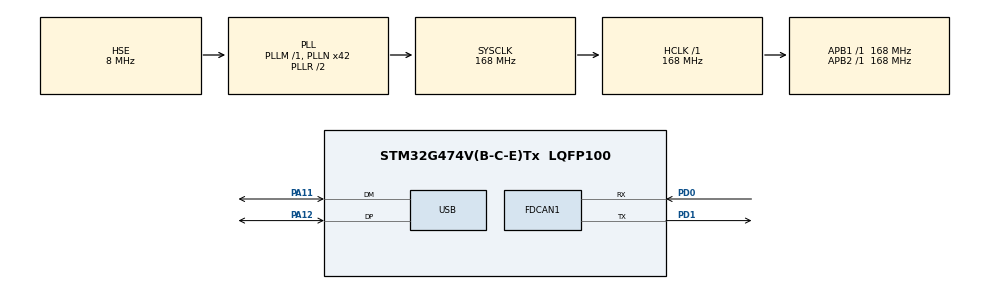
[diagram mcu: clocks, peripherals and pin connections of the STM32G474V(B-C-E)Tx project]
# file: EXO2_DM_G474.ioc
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FDCAN1.AutoRetransmission=ENABLE
FDCAN1.CalculateBaudRateNominal=1000000
FDCAN1.CalculateTimeBitNominal=1000
FDCAN1.CalculateTimeQuantumNominal=47.61904761904762
FDCAN1.ClockDivider=FDCAN_CLOCK_DIV1
FDCAN1.DataPrescaler=2
FDCAN1.DataSyncJumpWidth=2
FDCAN1.DataTimeSeg1=16
FDCAN1.DataTimeSeg2=4
FDCAN1.ExtFiltersNbr=0
FDCAN1.FrameFormat=FDCAN_FRAME_FD_BRS
FDCAN1.Mode=FDCAN_MODE_NORMAL
FDCAN1.NominalPrescaler=8
FDCAN1.NominalSyncJumpWidth=2
FDCAN1.NominalTimeSeg1=16
FDCAN1.NominalTimeSeg2=4
FDCAN1.ProtocolException=DISABLE
FDCAN1.StdFiltersNbr=1
FDCAN1.TransmitPause=DISABLE
FDCAN1.TxFifoQueueMode=FDCAN_TX_FIFO_OPERATION
Mcu.Family=STM32G4
Mcu.Name=STM32G474V(B-C-E)Tx
Mcu.Package=LQFP100
NVIC.FDCAN1_IT0_IRQn=true\:1\:0\:true\:false\:true\:true\:true\:true
NVIC.PriorityGroup=NVIC_PRIORITYGROUP_4
NVIC.TIM6_DAC_IRQn=true\:3\:0\:true\:false\:true\:true\:true\:true
NVIC.USB_LP_IRQn=true\:5\:0\:true\:false\:true\:false\:true\:true
PA11.Mode=Device
PA11.Signal=USB_DM
PA12.Mode=Device
PA12.Signal=USB_DP
PA13.Mode=Serial_Wire
PA13.Signal=SYS_JTMS-SWDIO
PA14.Mode=Serial_Wire
PA14.Signal=SYS_JTCK-SWCLK
PD0.GPIO_Speed=GPIO_SPEED_FREQ_VERY_HIGH
PD0.Mode=FDCAN_Activate
PD0.Signal=FDCAN1_RX
PD1.GPIO_Speed=GPIO_SPEED_FREQ_VERY_HIGH
PD1.Mode=FDCAN_Activate
PD1.Signal=FDCAN1_TX
PF0-OSC_IN.Mode=HSE-External-Oscillator
PF0-OSC_IN.Signal=RCC_OSC_IN
PF1-OSC_OUT.Mode=HSE-External-Oscillator
PF1-OSC_OUT.Signal=RCC_OSC_OUT
ProjectManager.HeapSize=0x400
ProjectManager.StackSize=0x800
ProjectManager.TargetToolchain=MDK-ARM V5.32
RCC.ADC12Freq_Value=168000000
RCC.ADC345Freq_Value=168000000
RCC.AHBFreq_Value=168000000
RCC.APB1Freq_Value=168000000
RCC.APB1TimFreq_Value=168000000
RCC.APB2Freq_Value=168000000
RCC.APB2TimFreq_Value=168000000
RCC.CK48CLockSelection=RCC_USBCLKSOURCE_HSI48
RCC.CortexFreq_Value=168000000
RCC.EXTERNAL_CLOCK_VALUE=12288000
RCC.HCLKFreq_Value=168000000
RCC.HSE_VALUE=8000000
RCC.HSI48_VALUE=48000000
RCC.HSI_VALUE=16000000
RCC.LSE_VALUE=32768
RCC.PLLN=42
RCC.PLLQ=RCC_PLLQ_DIV4
RCC.PLLSourceVirtual=RCC_PLLSOURCE_HSE
RCC.SYSCLKFreq_VALUE=168000000
RCC.SYSCLKSource=RCC_SYSCLKSOURCE_PLLCLK
RCC.USBFreq_Value=48000000
RCC.VCOOutputFreq_Value=336000000
TIM6.AutoReloadPreload=TIM_AUTORELOAD_PRELOAD_DISABLE
TIM6.CounterMode=TIM_COUNTERMODE_UP
TIM6.Dithering=Disable
TIM6.PeriodNoDither=47999
TIM6.Prescaler=0
TIM6.TIM_MasterOutputTrigger=TIM_TRGO_RESET
USB.DeviceSpeed=PCD_SPEED_FULL
USB.Sof_enable=DISABLE
USB.battery_charging_enable=DISABLE
USB.low_power_enable=DISABLE
USB.lpm_enable=DISABLE
USB.phy_itface=PCD_PHY_EMBEDDED
USB_DEVICE.APP_RX_DATA_SIZE=2048
USB_DEVICE.APP_TX_DATA_SIZE=2048
USB_DEVICE.CLASS_NAME_FS=CDC
USB_DEVICE.USBD_LPM_ENABLED=0
USB_DEVICE.USBD_SELF_POWERED=0
USB_DEVICE.VirtualMode=Cdc
USB_DEVICE.VirtualModeFS=Cdc_FS
VP_SYS_VS_DBSignals.Mode=DisableDeadBatterySignals
VP_TIM6_VS_ClockSourceINT.Mode=Enable_Timer
VP_USB_DEVICE_VS_USB_DEVICE_CDC_FS.Mode=CDC_FS
board=custom

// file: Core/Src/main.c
/* USER CODE BEGIN Header */
/**
  ******************************************************************************
  * @file           : main.c
  * @brief          : Main program body
  ******************************************************************************
  * @attention
  *
  * Copyright (c) 2026 STMicroelectronics.
  * All rights reserved.
  *
  * This software is licensed under terms that can be found in the LICENSE file
  * in the root directory of this software component.
  * If no LICENSE file comes with this software, it is provided AS-IS.
  *
  ******************************************************************************
  */
/* USER CODE END Header */
#include "main.h"
#include "fdcan.h"
#include "tim.h"
#include "usb_device.h"
#include "gpio.h"

/* USER CODE BEGIN Includes */
#include <dm_motor.h>
#include <usb_motor_comm.h>

/* USER CODE END Includes */

/* USER CODE BEGIN PTD */
typedef enum
{
  MOTOR_MODE_SWITCH_IDLE = 0U,
  MOTOR_MODE_SWITCH_DISABLE,
  MOTOR_MODE_SWITCH_WRITE,
  MOTOR_MODE_SWITCH_WAIT,
  MOTOR_MODE_SWITCH_ENABLE
} Motor_ModeSwitchState_t;

/* USER CODE END PTD */

/* USER CODE BEGIN PD */
#define MOTOR_ACTION_CLEAR_ERROR  0x01U
#define MOTOR_ACTION_SET_ZERO     0x02U
#define MOTOR_ACTION_ENABLE       0x04U
#define MOTOR_ACTION_DISABLE      0x08U

#define MOTOR_MODE_SWITCH_WAIT_MS  10U

/* USER CODE END PD */

/* USER CODE BEGIN PV */
static USB_MotorCommand_t motor_command;
static volatile uint8_t motor_enabled[DM_MOTOR_COUNT];
static uint8_t motor_action_pending[DM_MOTOR_COUNT];
static uint8_t motor_action_index;
static volatile uint8_t motor_control_index;
static volatile uint8_t feedback_pending;
static volatile uint8_t usb_command_received;
static volatile uint8_t motor_control_suspended;
static volatile DM_ControlMode_t active_control_mode = DM_CONTROL_MODE_MIT;
static DM_ControlMode_t requested_control_mode = DM_CONTROL_MODE_MIT;
static DM_ControlMode_t mode_switch_target = DM_CONTROL_MODE_MIT;
static Motor_ModeSwitchState_t mode_switch_state = MOTOR_MODE_SWITCH_IDLE;
static uint8_t control_mode_initialized;
static uint8_t mode_switch_index;
static uint8_t mode_restore_enabled[DM_MOTOR_COUNT];
static uint32_t mode_switch_wait_tick;
static uint32_t last_usb_command_tick;
static uint32_t can_test_last_tick;
static uint32_t can_test_counter;
static volatile uint8_t can_test_enabled = CAN_ANALYZER_LOOPBACK_TEST;
static volatile uint8_t mit_watch_test_enabled = MIT_WATCH_TEST_MODE;
static volatile uint8_t mit_watch_active_motor_index;
static volatile uint8_t mit_watch_timer_divider;

/* Variables available directly in the Keil debugger Watch window. */
volatile uint8_t mit_watch_motor_id = 1U;
volatile uint8_t mit_watch_enable_request;
volatile uint8_t mit_watch_clear_error_request;
volatile uint8_t mit_watch_set_zero_request;
volatile uint8_t mit_watch_motor_enabled;
volatile uint32_t mit_watch_last_status = HAL_OK;
volatile float mit_watch_position;
volatile float mit_watch_velocity;
volatile float mit_watch_kp;
volatile float mit_watch_kd;
volatile float mit_watch_torque;

/* USER CODE END PV */

void SystemClock_Config(void);
/* USER CODE BEGIN PFP */
static void Motor_ProcessPendingAction(void);
static void Motor_StartControlModeSwitch(DM_ControlMode_t mode);
static void Motor_ProcessControlModeSwitch(void);
static void MIT_WatchTestProcess(void);

/* USER CODE END PFP */

/* USER CODE BEGIN 0 */
static void Motor_ProcessPendingAction(void)
{
  HAL_StatusTypeDef status;
  uint32_t interrupt_state;
  uint8_t action;
  uint8_t index;
  uint8_t offset;

  for (offset = 0U; offset < DM_MOTOR_COUNT; ++offset)
  {
    index = (uint8_t)((motor_action_index + offset) % DM_MOTOR_COUNT);
    action = motor_action_pending[index];
    if (action == 0U)
    {
      continue;
    }

    interrupt_state = __get_PRIMASK();
    __disable_irq();

    if ((action & MOTOR_ACTION_CLEAR_ERROR) != 0U)
    {
      status = DM_Motor_ClearError(&dm_motors[index]);
      action = MOTOR_ACTION_CLEAR_ERROR;
    }
    else if ((action & MOTOR_ACTION_SET_ZERO) != 0U)
    {
      status = DM_Motor_SetZero(&dm_motors[index]);
      action = MOTOR_ACTION_SET_ZERO;
    }
    else if ((action & MOTOR_ACTION_DISABLE) != 0U)
    {
      status = DM_Motor_Disable(&dm_motors[index]);
      action = MOTOR_ACTION_DISABLE;
    }
    else
    {
      status = DM_Motor_Enable(&dm_motors[index]);
      action = MOTOR_ACTION_ENABLE;
    }

    if (interrupt_state == 0U)
    {
      __enable_irq();
    }

    if (status == HAL_OK)
    {
      motor_action_pending[index] &= (uint8_t)~action;
      if (action == MOTOR_ACTION_ENABLE)
      {
        motor_enabled[index] = 1U;
      }
    }

    motor_action_index = index + 1U;
    if (motor_action_index >= DM_MOTOR_COUNT)
    {
      motor_action_index = 0U;
    }
    return;
  }
}

static void Motor_StartControlModeSwitch(DM_ControlMode_t mode)
{
  uint8_t index;

  motor_control_suspended = 1U;
  mode_switch_target = mode;
  mode_switch_index = 0U;
  mode_switch_state = MOTOR_MODE_SWITCH_DISABLE;

  for (index = 0U; index < DM_MOTOR_COUNT; ++index)
  {
    mode_restore_enabled[index] = motor_enabled[index];
    motor_enabled[index] = 0U;
    motor_action_pending[index] &=
      (uint8_t)~(MOTOR_ACTION_ENABLE | MOTOR_ACTION_DISABLE);
  }
}

static void Motor_ProcessControlModeSwitch(void)
{
  HAL_StatusTypeDef status;
  uint32_t interrupt_state;
  uint8_t should_enable;

  if (mode_switch_state == MOTOR_MODE_SWITCH_IDLE)
  {
    return;
  }

  if (mode_switch_state == MOTOR_MODE_SWITCH_WAIT)
  {
    if ((HAL_GetTick() - mode_switch_wait_tick) <
        MOTOR_MODE_SWITCH_WAIT_MS)
    {
      return;
    }

    active_control_mode = mode_switch_target;
    control_mode_initialized = 1U;
    mode_switch_index = 0U;
    mode_switch_state = MOTOR_MODE_SWITCH_ENABLE;
    return;
  }

  if (mode_switch_state == MOTOR_MODE_SWITCH_ENABLE)
  {
    should_enable =
      ((mode_restore_enabled[mode_switch_index] != 0U) &&
       (usb_command_received != 0U) &&
       ((motor_command.motor[mode_switch_index].flags &
         USB_MOTOR_FLAG_ENABLE) != 0U)) ? 1U : 0U;

    if (should_enable == 0U)
    {
      status = HAL_OK;
    }
    else
    {
      interrupt_state = __get_PRIMASK();
      __disable_irq();
      status = DM_Motor_Enable(&dm_motors[mode_switch_index]);
      if (interrupt_state == 0U)
      {
        __enable_irq();
      }
    }

    if (status != HAL_OK)
    {
      return;
    }

    motor_enabled[mode_switch_index] = should_enable;
    ++mode_switch_index;
    if (mode_switch_index >= DM_MOTOR_COUNT)
    {
      mode_switch_state = MOTOR_MODE_SWITCH_IDLE;
      motor_control_suspended = 0U;
    }
    return;
  }

  interrupt_state = __get_PRIMASK();
  __disable_irq();
  if (mode_switch_state == MOTOR_MODE_SWITCH_DISABLE)
  {
    status = DM_Motor_Disable(&dm_motors[mode_switch_index]);
  }
  else
  {
    status = DM_Motor_SetControlMode(&dm_motors[mode_switch_index],
                                     mode_switch_target);
  }
  if (interrupt_state == 0U)
  {
    __enable_irq();
  }

  if (status != HAL_OK)
  {
    return;
  }

  ++mode_switch_index;
  if (mode_switch_index < DM_MOTOR_COUNT)
  {
    return;
  }

  mode_switch_index = 0U;
  if (mode_switch_state == MOTOR_MODE_SWITCH_DISABLE)
  {
    mode_switch_state = MOTOR_MODE_SWITCH_WRITE;
  }
  else
  {
    mode_switch_wait_tick = HAL_GetTick();
    mode_switch_state = MOTOR_MODE_SWITCH_WAIT;
  }
}

static void MIT_WatchTestProcess(void)
{
  HAL_StatusTypeDef status;
  uint32_t interrupt_state;
  uint8_t selected_index;

  if ((mit_watch_motor_id == 0U) ||
      (mit_watch_motor_id > DM_MOTOR_COUNT))
  {
    mit_watch_last_status = HAL_ERROR;
    return;
  }

  selected_index = mit_watch_motor_id - 1U;

  if (mit_watch_clear_error_request != 0U)
  {
    mit_watch_clear_error_request = 0U;
    interrupt_state = __get_PRIMASK();
    __disable_irq();
    status = DM_Motor_ClearError(&dm_motors[selected_index]);
    if (interrupt_state == 0U)
    {
      __enable_irq();
    }
    mit_watch_last_status = status;
  }

  if (mit_watch_set_zero_request != 0U)
  {
    mit_watch_set_zero_request = 0U;
    interrupt_state = __get_PRIMASK();
    __disable_irq();
    status = DM_Motor_SetZero(&dm_motors[selected_index]);
    if (interrupt_state == 0U)
    {
      __enable_irq();
    }
    mit_watch_last_status = status;
  }

  if ((mit_watch_enable_request != 0U) &&
      (mit_watch_motor_enabled == 0U))
  {
    interrupt_state = __get_PRIMASK();
    __disable_irq();
    status = DM_Motor_Enable(&dm_motors[selected_index]);
    if (status == HAL_OK)
    {
      mit_watch_active_motor_index = selected_index;
      mit_watch_motor_enabled = 1U;
    }
    if (interrupt_state == 0U)
    {
      __enable_irq();
    }
    mit_watch_last_status = status;
  }
  else if ((mit_watch_enable_request == 0U) &&
           (mit_watch_motor_enabled != 0U))
  {
    interrupt_state = __get_PRIMASK();
    __disable_irq();
    status = DM_Motor_Disable(
      &dm_motors[mit_watch_active_motor_index]);
    if (status == HAL_OK)
    {
      mit_watch_motor_enabled = 0U;
    }
    if (interrupt_state == 0U)
    {
      __enable_irq();
    }
    mit_watch_last_status = status;
  }
}

/* USER CODE END 0 */

int main(void)
{

  /* USER CODE BEGIN 1 */
  FDCAN_FilterTypeDef fdcan_filter;

  /* USER CODE END 1 */

  /* MCU Configuration--------------------------------------------------------*/

  /* Reset of all peripherals, Initializes the Flash interface and the Systick. */
  HAL_Init();

  /* Configure the system clock */
  SystemClock_Config();

  /* Initialize all configured peripherals */
  MX_GPIO_Init();
  MX_FDCAN1_Init();
  MX_TIM6_Init();
  MX_USB_Device_Init();
  /* USER CODE BEGIN 2 */
  fdcan_filter.IdType = FDCAN_STANDARD_ID;
  fdcan_filter.FilterIndex = 0U;
  fdcan_filter.FilterType = FDCAN_FILTER_MASK;
  fdcan_filter.FilterConfig = FDCAN_FILTER_TO_RXFIFO0;
  fdcan_filter.FilterID1 = (can_test_enabled != 0U) ? 0x200U : 0U;
  /* Temporary diagnosis: accept every standard ID and inspect it in
     HAL_FDCAN_RxFifo0Callback(). Restore mask 0x7FF after the test. */
  fdcan_filter.FilterID2 = 0U;

  if (HAL_FDCAN_ConfigFilter(&hfdcan1, &fdcan_filter) != HAL_OK)
  {
    Error_Handler();
  }

  if (HAL_FDCAN_ConfigGlobalFilter(
        &hfdcan1,
        FDCAN_REJECT,
        FDCAN_REJECT,
        FDCAN_REJECT_REMOTE,
        FDCAN_REJECT_REMOTE) != HAL_OK)
  {
    Error_Handler();
  }

  if (HAL_FDCAN_ConfigTxDelayCompensation(&hfdcan1, 32U, 0U) != HAL_OK)
  {
    Error_Handler();
  }

  if (HAL_FDCAN_EnableTxDelayCompensation(&hfdcan1) != HAL_OK)
  {
    Error_Handler();
  }

  if (HAL_FDCAN_Start(&hfdcan1) != HAL_OK)
  {
    Error_Handler();
  }

  if (HAL_FDCAN_ActivateNotification(
        &hfdcan1, FDCAN_IT_RX_FIFO0_NEW_MESSAGE, 0U) != HAL_OK)
  {
    Error_Handler();
  }

  if (DM_Motor_Init(&hfdcan1) != HAL_OK)
  {
    Error_Handler();
  }

  if ((can_test_enabled == 0U) &&
      (HAL_TIM_Base_Start_IT(&htim6) != HAL_OK))
  {
    Error_Handler();
  }

  /* USER CODE END 2 */

  /* Infinite loop */
  /* USER CODE BEGIN WHILE */
  while (1)
  {
    uint8_t index;

    if (can_test_enabled != 0U)
    {
      if ((HAL_GetTick() - can_test_last_tick) >= 100U)
      {
        if (DM_Motor_CanAnalyzerTestSend(can_test_counter) == HAL_OK)
        {
          ++can_test_counter;
          can_test_last_tick = HAL_GetTick();
        }
      }
      HAL_Delay(1U);
      continue;
    }

    if (mit_watch_test_enabled != 0U)
    {
      MIT_WatchTestProcess();
      HAL_Delay(1U);
      continue;
    }

    if (USB_MotorComm_GetCommand(&motor_command) != 0U)
    {
      usb_command_received = 1U;
      last_usb_command_tick = HAL_GetTick();

      requested_control_mode =
        ((motor_command.motor[0].flags &
          USB_MOTOR_FLAG_VELOCITY_MODE) != 0U) ?
        DM_CONTROL_MODE_VELOCITY : DM_CONTROL_MODE_MIT;

      if ((mode_switch_state == MOTOR_MODE_SWITCH_IDLE) &&
          ((control_mode_initialized == 0U) ||
           (requested_control_mode != active_control_mode)))
      {
        Motor_StartControlModeSwitch(requested_control_mode);
      }

      for (index = 0U; index < DM_MOTOR_COUNT; ++index)
      {
        if ((motor_command.motor[index].flags &
             USB_MOTOR_FLAG_CLEAR_ERROR) != 0U)
        {
          motor_action_pending[index] |= MOTOR_ACTION_CLEAR_ERROR;
        }

        if ((motor_command.motor[index].flags &
             USB_MOTOR_FLAG_SET_ZERO) != 0U)
        {
          motor_action_pending[index] |= MOTOR_ACTION_SET_ZERO;
        }

        if ((mode_switch_state == MOTOR_MODE_SWITCH_IDLE) &&
            (control_mode_initialized != 0U) &&
            ((motor_command.motor[index].flags &
              USB_MOTOR_FLAG_ENABLE) != 0U))
        {
          if (motor_enabled[index] == 0U)
          {
            motor_action_pending[index] &=
              (uint8_t)~MOTOR_ACTION_DISABLE;
            motor_action_pending[index] |= MOTOR_ACTION_ENABLE;
          }
        }
        else if ((mode_switch_state == MOTOR_MODE_SWITCH_IDLE) &&
                 (control_mode_initialized != 0U) &&
                 ((motor_enabled[index] != 0U) ||
                  ((motor_action_pending[index] &
                    MOTOR_ACTION_ENABLE) != 0U)))
        {
          motor_enabled[index] = 0U;
          motor_action_pending[index] &= (uint8_t)~MOTOR_ACTION_ENABLE;
          motor_action_pending[index] |= MOTOR_ACTION_DISABLE;
        }
      }
    }

    if ((usb_command_received != 0U) &&
        ((HAL_GetTick() - last_usb_command_tick) > 100U))
    {
      usb_command_received = 0U;
      for (index = 0U; index < DM_MOTOR_COUNT; ++index)
      {
        mode_restore_enabled[index] = 0U;
        if ((motor_enabled[index] != 0U) ||
            ((motor_action_pending[index] & MOTOR_ACTION_ENABLE) != 0U))
        {
          motor_enabled[index] = 0U;
          motor_action_pending[index] &= (uint8_t)~MOTOR_ACTION_ENABLE;
          motor_action_pending[index] |= MOTOR_ACTION_DISABLE;
        }
      }
    }

    Motor_ProcessControlModeSwitch();
    if (mode_switch_state == MOTOR_MODE_SWITCH_IDLE)
    {
      Motor_ProcessPendingAction();
    }

    if (feedback_pending != 0U)
    {
      feedback_pending = 0U;
      if (USB_MotorComm_SendFeedback() != 0U)
      {
        feedback_pending = 1U;
      }
    }
    /* USER CODE END WHILE */

  }
}

void SystemClock_Config(void)
{
  RCC_OscInitTypeDef RCC_OscInitStruct = {0};
  RCC_ClkInitTypeDef RCC_ClkInitStruct = {0};

  /** Configure the main internal regulator output voltage
  */
  HAL_PWREx_ControlVoltageScaling(PWR_REGULATOR_VOLTAGE_SCALE1_BOOST);

  /** Initializes the RCC Oscillators according to the specified parameters
  * in the RCC_OscInitTypeDef structure.
  */
  RCC_OscInitStruct.OscillatorType = RCC_OSCILLATORTYPE_HSI48|RCC_OSCILLATORTYPE_HSE;
  RCC_OscInitStruct.HSEState = RCC_HSE_ON;
  RCC_OscInitStruct.HSI48State = RCC_HSI48_ON;
  RCC_OscInitStruct.PLL.PLLState = RCC_PLL_ON;
  RCC_OscInitStruct.PLL.PLLSource = RCC_PLLSOURCE_HSE;
  RCC_OscInitStruct.PLL.PLLM = RCC_PLLM_DIV1;
  RCC_OscInitStruct.PLL.PLLN = 42;
  RCC_OscInitStruct.PLL.PLLP = RCC_PLLP_DIV2;
  RCC_OscInitStruct.PLL.PLLQ = RCC_PLLQ_DIV4;
  RCC_OscInitStruct.PLL.PLLR = RCC_PLLR_DIV2;
  if (HAL_RCC_OscConfig(&RCC_OscInitStruct) != HAL_OK)
  {
    Error_Handler();
  }

  /** Initializes the CPU, AHB and APB buses clocks
  */
  RCC_ClkInitStruct.ClockType = RCC_CLOCKTYPE_HCLK|RCC_CLOCKTYPE_SYSCLK
                              |RCC_CLOCKTYPE_PCLK1|RCC_CLOCKTYPE_PCLK2;
  RCC_ClkInitStruct.SYSCLKSource = RCC_SYSCLKSOURCE_PLLCLK;
  RCC_ClkInitStruct.AHBCLKDivider = RCC_SYSCLK_DIV1;
  RCC_ClkInitStruct.APB1CLKDivider = RCC_HCLK_DIV1;
  RCC_ClkInitStruct.APB2CLKDivider = RCC_HCLK_DIV1;

  if (HAL_RCC_ClockConfig(&RCC_ClkInitStruct, FLASH_LATENCY_4) != HAL_OK)
  {
    Error_Handler();
  }
}

/* USER CODE BEGIN 4 */
void HAL_TIM_PeriodElapsedCallback(TIM_HandleTypeDef *htim)
{
  uint8_t index;

  if (htim->Instance != TIM6)
  {
    return;
  }

  if (mit_watch_test_enabled != 0U)
  {
    ++mit_watch_timer_divider;
    if (mit_watch_timer_divider >= DM_MOTOR_COUNT)
    {
      mit_watch_timer_divider = 0U;
      if (mit_watch_motor_enabled != 0U)
      {
        (void)DM_Motor_MitControl(
          &dm_motors[mit_watch_active_motor_index],
          mit_watch_position,
          mit_watch_velocity,
          mit_watch_kp,
          mit_watch_kd,
          mit_watch_torque);
      }
    }
    return;
  }

  index = motor_control_index;
  if ((usb_command_received != 0U) &&
      (motor_enabled[index] != 0U) &&
      (motor_control_suspended == 0U) &&
      (control_mode_initialized != 0U))
  {
    if (active_control_mode == DM_CONTROL_MODE_VELOCITY)
    {
      (void)DM_Motor_VelocityControl(
        &dm_motors[index],
        motor_command.motor[index].velocity);
    }
    else
    {
      (void)DM_Motor_MitControl(
        &dm_motors[index],
        motor_command.motor[index].position,
        motor_command.motor[index].velocity,
        motor_command.motor[index].kp,
        motor_command.motor[index].kd,
        motor_command.motor[index].torque);
    }
  }

  ++index;
  if (index >= DM_MOTOR_COUNT)
  {
    index = 0U;
    feedback_pending = 1U;
  }
  motor_control_index = index;
}

/* USER CODE END 4 */

void Error_Handler(void)
{
  __disable_irq();
  while (1)
  {
  }
}
